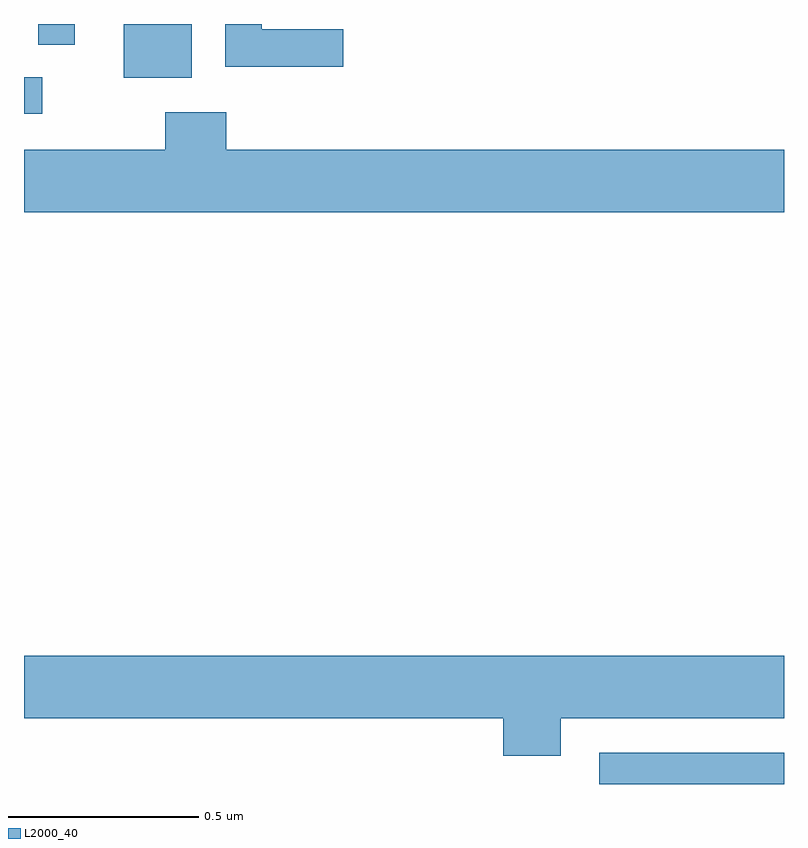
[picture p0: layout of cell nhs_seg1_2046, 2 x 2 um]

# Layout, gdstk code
import gdstk
lib = gdstk.Library(unit=1e-6, precision=1e-09)
def R(c, l, rs):  # rectangles x0, y0, x1, y1
    for r in rs: c.add(gdstk.rectangle(r[:2], r[2:], *l))
def P(c, l, *ps):  # polygons
    for p in ps: c.add(gdstk.Polygon(p, *l))
L2000_40 = (2000, 40)

nhs_seg1_2046 = lib.new_cell('nhs_seg1_2046')
R(nhs_seg1_2046, L2000_40, [(137.514,578.199,138,578.281), (136,579.963,136.048,580.059), (136.262,580.058,136.441,580.199), (136.038,580.144,136.134,580.199)])
P(nhs_seg1_2046, L2000_40, [(136.84,580.185),(136.626,580.185),(136.626,580.199),(136.53,580.199),(136.53,580.087),(136.84,580.087)],
  [(138,579.868),(136.532,579.868),(136.532,579.967),(136.372,579.967),(136.372,579.868),(136,579.868),(136,579.704),(138,579.704)],
  [(137.413,578.372),(138,578.372),(138,578.536),(136,578.536),(136,578.372),(137.261,578.372),(137.261,578.273),(137.413,578.273)])

lib.write_gds('nhs_seg1_2046.gds')
